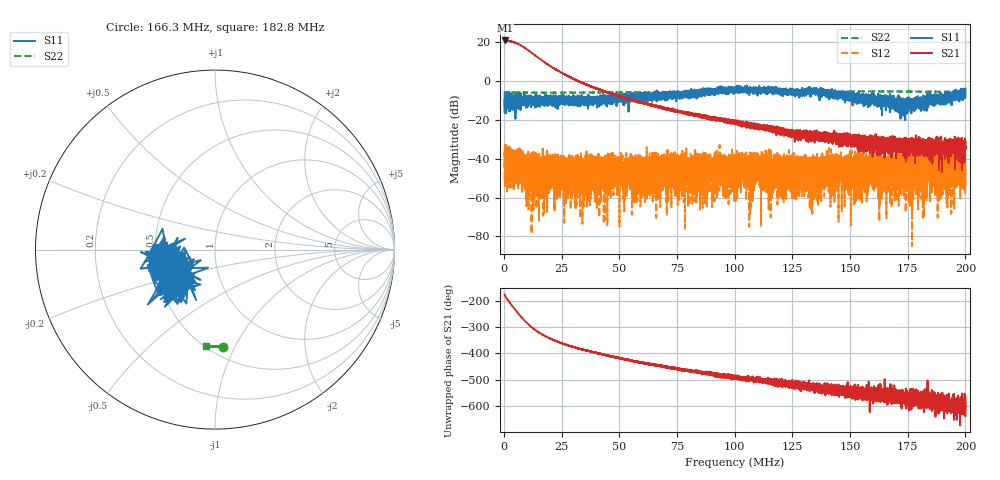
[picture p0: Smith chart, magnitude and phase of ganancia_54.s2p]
# Hz S DB R 50
! CMT, M5065, 19127446, 24.2.4/2
! Date: 10/29/2024 12:48:55 PM
! Data: Format (Calibration Info)
! Freq	S11:dB/Ang(F2)	S21:dB/Ang(F2)	S12:dB/Ang(F2)	S22:dB/Ang(F2)
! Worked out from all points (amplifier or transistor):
!   9000 points, 300 kHz to 200 MHz, reference 50 ohm
!   highest |S21| = 21.0 dB at 477.5 kHz (marker M1)
!   |S21| within 3 dB of that: start of sweep to 7.967 MHz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
!   unconditionally stable (mu >= 1): start of sweep to end of sweep
!   at 33.59 MHz: K = 47.73, MAG = 1.0 dB, |S12| = -42.4 dB
!   at 100.2 MHz: K = 1920.75, MAG = -18.0 dB, |S12| = -57.0 dB
!   at 200 MHz: K = 7341.68, MAG = -31.5 dB, |S12| = -54.1 dB
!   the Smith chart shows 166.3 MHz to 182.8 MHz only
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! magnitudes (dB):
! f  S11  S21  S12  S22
! 300 kHz  -5.8  20.9  -44.2  -6.0
! 477.5 kHz  -11.6  21.0  -54.8  -6.0
! 11.57 MHz  -11.6  15.1  -47.6  -5.9
! 24.16 MHz  -9.6  4.9  -48.5  -5.9
! 26.91 MHz  -9.4  3.1  -45.7  -5.9
! 33.59 MHz  -10.4  -0.7  -42.4  -5.9
! 51.1 MHz  -7.9  -8.4  -48.4  -5.8
! 52.41 MHz  -10.9  -8.6  -41.9  -5.7
! 66.87 MHz  -6.4  -13.0  -48.5  -5.7
! 72.49 MHz  -7.3  -15.3  -46.0  -5.7
! 77.95 MHz  -6.5  -15.7  -62.6  -5.6
! 100.2 MHz  -4.4  -21.4  -57.0  -5.6
! 106.9 MHz  -5.7  -24.4  -44.6  -5.6
! 108.9 MHz  -5.6  -22.3  -44.2  -5.6
! 114.3 MHz  -4.7  -24.8  -47.8  -5.6
! 116.8 MHz  -5.7  -23.5  -50.0  -5.5
! 133.4 MHz  -4.9  -28.8  -54.9  -5.3
! 166.7 MHz  -10.7  -33.8  -44.5  -5.3
! 174.3 MHz  -11.7  -36.8  -42.3  -5.4
! 195.9 MHz  -7.5  -31.8  -43.4  -5.5
! 198.5 MHz  -5.9  -32.1  -53.1  -5.5
! 200 MHz  -7.7  -33.8  -54.1  -5.5
